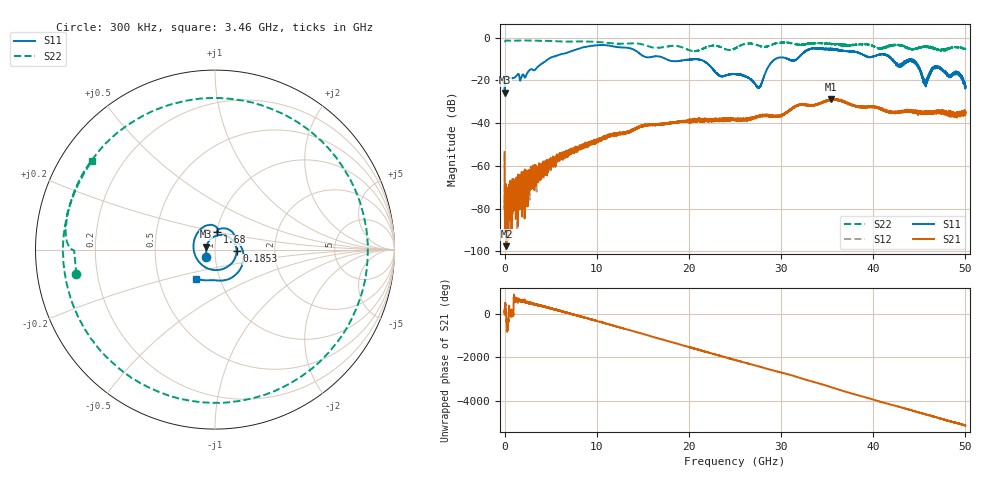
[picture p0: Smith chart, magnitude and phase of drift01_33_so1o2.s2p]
!Created with skrf (http://scikit-rf.org).
# Hz S RI R 50.0
!freq ReS11 ImS11 ReS21 ImS21 ReS12 ImS12 ReS22 ImS22
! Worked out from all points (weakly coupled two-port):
!   10001 points, 300 kHz to 50 GHz, reference 50 ohm
!   highest |S21| = -28.78 dB at 35.42 GHz (marker M1); lowest = -97.5 dB at 195.3 MHz (marker M2)
!   lowest |S11| = -25.8 dB at 5.3 MHz (marker M3), VSWR 1.11, Z = 45.3 + j1.41 ohm
!   |S11| at or under -10 dB: start of sweep to 4.766 GHz; 17.5 GHz to 29.4 GHz (11.9 GHz wide, 50.7 % of centre); 42.06 GHz to end of sweep (the widest 3 of 7)
!   |S22| runs from -6.4 to -1.4 dB; largest |S21 - S12| = 0.0044
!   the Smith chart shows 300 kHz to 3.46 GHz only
!   S11 on the Smith chart (normalised r, x): 300 kHz: 0.90, -0.08; 185.3 MHz: 1.27, -0.02; 1.68 GHz: 1.01, +0.20; 3.46 GHz: 0.77, -0.26
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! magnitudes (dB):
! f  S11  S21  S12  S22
! 300 kHz  -23.8  -53.6  -54.3  -2.1
! 5.3 MHz  -25.8  -70.2  -80.2  -2.1
! 185.3 MHz  -18.4  -80.3  -77.8  -1.4
! 195.3 MHz  -18.4  -97.5  -81.1  -1.4
! 530.3 MHz  -18.7  -78.0  -75.1  -1.5
! 1.68 GHz  -20.1  -68.2  -70.7  -1.4
! 3.46 GHz  -14.3  -61.1  -62.3  -1.5
! 8.335 GHz  -4.8  -51.4  -50.5  -1.8
! 16.67 GHz  -8.7  -40.8  -40.6  -4.8
! 25 GHz  -17.1  -38.3  -38.7  -5.1
! 27.59 GHz  -23.5  -36.7  -36.8  -3.8
! 29.28 GHz  -10.3  -36.9  -36.8  -2.9
! 31.45 GHz  -10.8  -32.5  -32.3  -3.0
! 33.34 GHz  -5.1  -31.8  -31.7  -2.6
! 35.42 GHz  -5.3  -28.8  -29.0  -2.9
! 41.67 GHz  -8.8  -34.8  -34.9  -4.3
! 42.78 GHz  -13.6  -35.0  -34.8  -3.6
! 44.42 GHz  -11.3  -34.5  -34.7  -5.3
! 45.63 GHz  -21.3  -35.0  -35.3  -4.3
! 46.96 GHz  -13.5  -34.4  -34.8  -5.7
! 49.26 GHz  -17.0  -36.0  -35.6  -4.6
! 50 GHz  -22.7  -35.1  -35.0  -5.3
